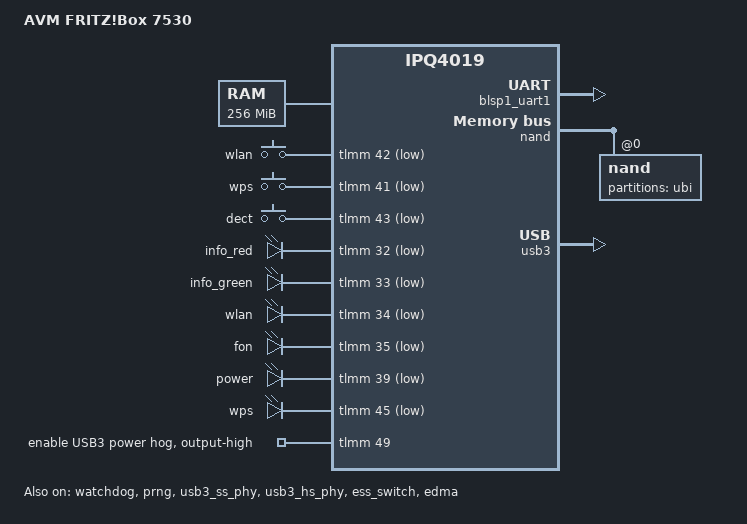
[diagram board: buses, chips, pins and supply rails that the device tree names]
// SPDX-License-Identifier: GPL-2.0-or-later OR MIT
/*
 * AVM FRITZ!Box 7530 (Qualcomm IPQ4019) for NetBSD.
 *
 * The SoC comes from the IPQ4019 description shipped with NetBSD
 * (sys/external/gpl2/dts/dist/arch/arm/boot/dts/qcom-ipq4019.dtsi, from
 * Linux).  This file only adds what that one lacks or leaves disabled:
 * the board (memory, console, enabled devices) and the ESS switch/EDMA
 * nodes, which mainline Linux never got (they come from OpenWrt).
 *
 * The MAC address is not here: U-Boot fills in "local-mac-address" of the
 * node the "ethernet0" alias points to, from its ethaddr variable.
 */

/dts-v1/;

#include "qcom-ipq4019.dtsi"
#include <dt-bindings/gpio/gpio.h>
#include <dt-bindings/input/input.h>

/ {
	model = "AVM FRITZ!Box 7530";
	compatible = "avm,fritzbox-7530", "qcom,ipq4019";

	aliases {
		serial0 = &blsp1_uart1;
		ethernet0 = &edma;
	};

	chosen {
		stdout-path = "serial0:115200n8";
		bootargs = "-v";
	};

	memory {
		device_type = "memory";
		reg = <0x80000000 0x10000000>;		/* 256 MB */
	};

	/*
	 * Buttons (active low).  NetBSD's gpiokeys polls them and reports
	 * them to powerd as hotkeys: /etc/powerd/scripts/hotkey_button gets
	 * "wlan", "wps" or "dect" with "pressed"/"released".
	 */
	keys {
		compatible = "gpio-keys";

		wlan {
			label = "wlan";
			gpios = <&tlmm 42 GPIO_ACTIVE_LOW>;
			linux,code = <KEY_RFKILL>;
		};

		wps {
			label = "wps";
			gpios = <&tlmm 41 GPIO_ACTIVE_LOW>;
			linux,code = <KEY_WPS_BUTTON>;
		};

		dect {
			label = "dect";
			gpios = <&tlmm 43 GPIO_ACTIVE_LOW>;
			linux,code = <KEY_PHONE>;
		};
	};

	/*
	 * LEDs (active low), driven by NetBSD's gpioleds: sysctl hw.led.<name>.
	 * Without "default-state" NetBSD keeps the state at attach, which is
	 * "on" here (the output latch reads 0 and the LEDs are active low),
	 * so every LED gets one.
	 */
	leds {
		compatible = "gpio-leds";

		info_red {
			label = "info_red";
			gpios = <&tlmm 32 GPIO_ACTIVE_LOW>;
			default-state = "off";
		};

		info_green {
			label = "info_green";
			gpios = <&tlmm 33 GPIO_ACTIVE_LOW>;
			default-state = "off";
		};

		wlan {
			label = "wlan";
			gpios = <&tlmm 34 GPIO_ACTIVE_LOW>;
			default-state = "off";
		};

		fon {
			label = "fon";
			gpios = <&tlmm 35 GPIO_ACTIVE_LOW>;
			default-state = "off";
		};

		power {
			label = "power";
			gpios = <&tlmm 39 GPIO_ACTIVE_LOW>;
			default-state = "on";
		};

		wps {
			label = "wps";
			gpios = <&tlmm 45 GPIO_ACTIVE_LOW>;
			default-state = "off";
		};
	};

	soc {
		/*
		 * ESS switch (QCA8337-like core, 6 ports; port 0 is the CPU).
		 * The EDMA driver resets the ESS and restores the switch
		 * registers U-Boot programmed; it only needs the base address.
		 */
		ess_switch: switch@c000000 {
			compatible = "qca,ipq4019-qca8337n";
			reg = <0xc000000 0x80000>, <0x98000 0x800>;
			reg-names = "base", "psgmii_phy";
			/*
			 * The ESS reset and clock cover the switch and the
			 * EDMA engine; the switch driver (qcom_ess) does the
			 * reset, before qcomedma attaches.  OpenWrt also lists
			 * the PSGMII reset (GCC reset 77, ESS_PSGMII_ARES),
			 * which NetBSD's older copy of
			 * dt-bindings/clock/qcom,gcc-ipq4019.h lacks; nothing
			 * here uses it.
			 */
			resets = <&gcc ESS_RESET>;
			reset-names = "ess";
			clocks = <&gcc GCC_ESS_CLK>;
			clock-names = "ess";
			status = "okay";
		};

		/*
		 * ESS EDMA: the DMA engine between memory and switch port 0.
		 * 16 TX queue interrupts, then 16 RX queue interrupts (the
		 * driver uses RX queues 0/2/4/6, i.e. entries 16/18/20/22).
		 */
		edma: ethernet@c080000 {
			compatible = "qcom,ipq4019-ess-edma";
			reg = <0xc080000 0x8000>;
			interrupts =
			    <GIC_SPI  65 IRQ_TYPE_EDGE_RISING>,
			    <GIC_SPI  66 IRQ_TYPE_EDGE_RISING>,
			    <GIC_SPI  67 IRQ_TYPE_EDGE_RISING>,
			    <GIC_SPI  68 IRQ_TYPE_EDGE_RISING>,
			    <GIC_SPI  69 IRQ_TYPE_EDGE_RISING>,
			    <GIC_SPI  70 IRQ_TYPE_EDGE_RISING>,
			    <GIC_SPI  71 IRQ_TYPE_EDGE_RISING>,
			    <GIC_SPI  72 IRQ_TYPE_EDGE_RISING>,
			    <GIC_SPI  73 IRQ_TYPE_EDGE_RISING>,
			    <GIC_SPI  74 IRQ_TYPE_EDGE_RISING>,
			    <GIC_SPI  75 IRQ_TYPE_EDGE_RISING>,
			    <GIC_SPI  76 IRQ_TYPE_EDGE_RISING>,
			    <GIC_SPI  77 IRQ_TYPE_EDGE_RISING>,
			    <GIC_SPI  78 IRQ_TYPE_EDGE_RISING>,
			    <GIC_SPI  79 IRQ_TYPE_EDGE_RISING>,
			    <GIC_SPI  80 IRQ_TYPE_EDGE_RISING>,
			    <GIC_SPI 240 IRQ_TYPE_EDGE_RISING>,
			    <GIC_SPI 241 IRQ_TYPE_EDGE_RISING>,
			    <GIC_SPI 242 IRQ_TYPE_EDGE_RISING>,
			    <GIC_SPI 243 IRQ_TYPE_EDGE_RISING>,
			    <GIC_SPI 244 IRQ_TYPE_EDGE_RISING>,
			    <GIC_SPI 245 IRQ_TYPE_EDGE_RISING>,
			    <GIC_SPI 246 IRQ_TYPE_EDGE_RISING>,
			    <GIC_SPI 247 IRQ_TYPE_EDGE_RISING>,
			    <GIC_SPI 248 IRQ_TYPE_EDGE_RISING>,
			    <GIC_SPI 249 IRQ_TYPE_EDGE_RISING>,
			    <GIC_SPI 250 IRQ_TYPE_EDGE_RISING>,
			    <GIC_SPI 251 IRQ_TYPE_EDGE_RISING>,
			    <GIC_SPI 252 IRQ_TYPE_EDGE_RISING>,
			    <GIC_SPI 253 IRQ_TYPE_EDGE_RISING>,
			    <GIC_SPI 254 IRQ_TYPE_EDGE_RISING>,
			    <GIC_SPI 255 IRQ_TYPE_EDGE_RISING>;
			phy-mode = "internal";
			status = "okay";

			fixed-link {
				speed = <1000>;
				full-duplex;
				pause;
			};
		};
	};
};

&blsp1_uart1 {
	status = "okay";
};

&watchdog {
	status = "okay";
};

&prng {
	status = "okay";
};

/*
 * NAND controller.  Its BAM DMA engine (qpic_bam) has no driver; qcom_qpic
 * resets the block and drives it with register writes.
 */
&nand {
	resets = <&gcc GCC_QPIC_BCR>;
	reset-names = "qpic";
	status = "okay";

	nand@0 {
		/* as U-Boot's mtdparts: only the UBI partition is used */
		partitions {
			compatible = "fixed-partitions";
			#address-cells = <1>;
			#size-cells = <1>;

			ubi@1300000 {
				label = "ubi";
				reg = <0x1300000 0x6d00000>;
			};
		};
	};
};

&tlmm {
	/* the USB 3 port's VBUS switch: on, as OpenWrt does */
	usb-power {
		line-name = "enable USB3 power";
		gpio-hog;
		gpios = <49 GPIO_ACTIVE_HIGH>;
		output-high;
	};
};

/* USB 3 port */
&usb3_ss_phy {
	status = "okay";
};

&usb3_hs_phy {
	status = "okay";
};

&usb3 {
	status = "okay";
};
